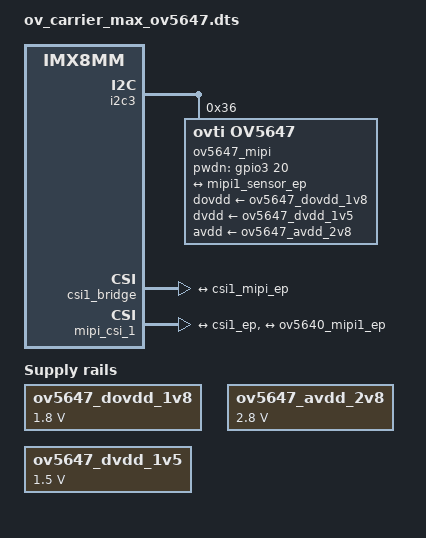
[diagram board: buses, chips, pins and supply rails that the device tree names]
/**
 * Portenta-X8 dtb overlay file
 * Arduino 2022
 * This overlay is adding the RPi V1.3 camera
 * with cmos sensor ov5647 to Max carrier board.
 * In this version, the ov5647 driver from rpi-5.10.y kernel
 * is used.
 */

/dts-v1/;
/plugin/;

#include <dt-bindings/gpio/gpio.h>
#include <dt-bindings/interrupt-controller/arm-gic.h>
#include <dt-bindings/clock/imx8mm-clock.h>
#include "imx8mm-pinfunc.h"

/ {
	compatible = "fsl,imx8mm-evk", "fsl,imx8mm";

	fragment@0 {
		target = <&iomuxc>;
		__overlay__ {
			imx8mm {
				pinctrl_en_cam: encamgrp {
					fsl,pins = <
						MX8MM_IOMUXC_SAI5_RXC_GPIO3_IO20		0x16 /* ENABLE (active high) */
					>;
				};
			};
		};
	};

	fragment@1 {
		target-path = "/";
		__overlay__ {
			ov5647_dovdd_1v8: 1p8v {
				compatible = "regulator-fixed";
				regulator-name = "camera_dovdd";
				regulator-min-microvolt = <1800000>;
				regulator-max-microvolt = <1800000>;
			};

			ov5647_avdd_2v8: 2p8v {
				compatible = "regulator-fixed";
				regulator-name = "camera_avdd";
				regulator-min-microvolt = <2800000>;
				regulator-max-microvolt = <2800000>;
			};

			ov5647_dvdd_1v5: 1p5v {
				compatible = "regulator-fixed";
				regulator-name = "camera_dvdd";
				regulator-min-microvolt = <1500000>;
				regulator-max-microvolt = <1500000>;
			};
		};
	};

	fragment@2 {
		target = <&i2c3>;
		__overlay__ {
			ov5647_mipi@36 {
				compatible = "ovti,ov5647";
				reg = <0x36>;
				status = "okay";
				pinctrl-names = "default";
				pinctrl-0 = <&pinctrl_en_cam>;
				dovdd-supply = <&ov5647_dovdd_1v8>;
				dvdd-supply = <&ov5647_dvdd_1v5>;
				avdd-supply = <&ov5647_avdd_2v8>;
				clocks = <&clk IMX8MM_CLK_PCIE1_AUX>;
				clock-names = "csi_mclk";
				assigned-clocks = <&clk IMX8MM_CLK_PCIE1_AUX>;
				assigned-clock-parents = <&clk IMX8MM_SYS_PLL2_50M>;
				assigned-clock-rates = <25000000>;
				csi_id = <0>;
				pwdn-gpios = <&gpio3 20 GPIO_ACTIVE_HIGH>;
				mclk = <25000000>;
				mclk_source = <0>;
				port {
					ov5640_mipi1_ep: endpoint {
						remote-endpoint = <&mipi1_sensor_ep>;
						data-lanes = <2>;
						link-frequencies = /bits/ 64 <297000000>;
					};
				};
			};
		};
	};

	fragment@3 {
		target = <&csi1_bridge>;
		__overlay__ {
			port {
				csi1_ep: endpoint {
					remote-endpoint = <&csi1_mipi_ep>;
				};
			};
		};
	};

	fragment@4 {
		target = <&mipi_csi_1>;
		__overlay__ {
			port {
				csi1_mipi_ep: endpoint@2 {
					remote-endpoint = <&csi1_ep>;
				};

				mipi1_sensor_ep: endpoint@1 {
					remote-endpoint = <&ov5640_mipi1_ep>;
					data-lanes = <2>;
				};
			};
		};
	};
};
